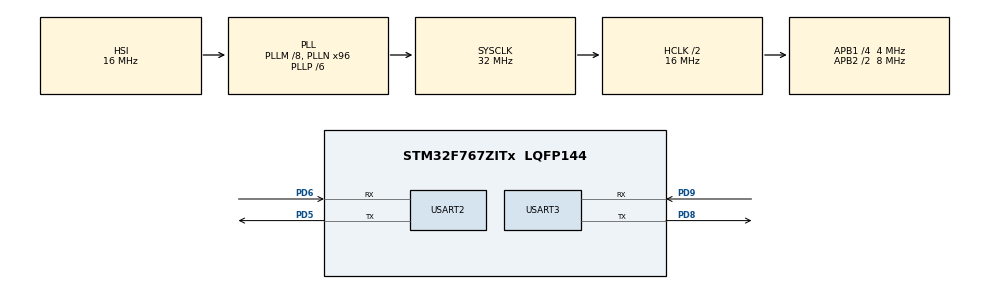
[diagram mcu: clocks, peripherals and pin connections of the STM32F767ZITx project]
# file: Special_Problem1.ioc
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Mcu.Family=STM32F7
Mcu.Name=STM32F767ZITx
Mcu.Package=LQFP144
NVIC.PriorityGroup=NVIC_PRIORITYGROUP_1
NVIC.USART2_IRQn=true\:1\:0\:true\:false\:true\:true\:true\:true
PD5.Mode=Asynchronous
PD5.Signal=USART2_TX
PD6.Mode=Asynchronous
PD6.Signal=USART2_RX
PD8.Mode=Asynchronous
PD8.Signal=USART3_TX
PD9.Mode=Asynchronous
PD9.Signal=USART3_RX
ProjectManager.HeapSize=0x200
ProjectManager.StackSize=0x400
ProjectManager.TargetToolchain=STM32CubeIDE
RCC.AHBCLKDivider=RCC_SYSCLK_DIV2
RCC.AHBFreq_Value=16000000
RCC.APB1CLKDivider=RCC_HCLK_DIV4
RCC.APB1Freq_Value=4000000
RCC.APB1TimFreq_Value=8000000
RCC.APB2CLKDivider=RCC_HCLK_DIV2
RCC.APB2Freq_Value=8000000
RCC.APB2TimFreq_Value=16000000
RCC.CortexFreq_Value=16000000
RCC.HCLKFreq_Value=16000000
RCC.HSE_VALUE=25000000
RCC.HSI_VALUE=16000000
RCC.LSE_VALUE=32768
RCC.PLLM=8
RCC.PLLN=96
RCC.PLLP=RCC_PLLP_DIV6
RCC.SYSCLKFreq_VALUE=32000000
RCC.SYSCLKSource=RCC_SYSCLKSOURCE_PLLCLK
RCC.USBFreq_Value=96000000
RCC.VCOOutputFreq_Value=192000000
USART2.VirtualMode-Asynchronous=VM_ASYNC
USART3.VirtualMode-Asynchronous=VM_ASYNC
board=custom

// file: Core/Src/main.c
/* USER CODE BEGIN Header */
/**
  ******************************************************************************
  * @file           : main.c
  * @brief          : Main program body
  ******************************************************************************
  * @attention
  *
  * Copyright (c) 2023 STMicroelectronics.
  * All rights reserved.
  *
  * This software is licensed under terms that can be found in the LICENSE file
  * in the root directory of this software component.
  * If no LICENSE file comes with this software, it is provided AS-IS.
  *
  ******************************************************************************
  */
/* USER CODE END Header */
#include "main.h"
#include "usart.h"
#include "gpio.h"

/* USER CODE BEGIN Includes */
#include "string.h"
/* USER CODE END Includes */

/* USER CODE BEGIN PV */
char rx_buffer[256];
char tx_buffer[256];
char me[16];
char you[16];
int i = 0;
int header = 0;
int name = 0;
int ready = 0;
int myname = 0;
char c;

uint8_t status = 0; //init
uint8_t exit = 0;
/* USER CODE END PV */

void SystemClock_Config(void);

int main(void)
{

  /* MCU Configuration--------------------------------------------------------*/

  /* Reset of all peripherals, Initializes the Flash interface and the Systick. */
  HAL_Init();

  /* Configure the system clock */
  SystemClock_Config();

  /* Initialize all configured peripherals */
  MX_GPIO_Init();
  MX_USART2_UART_Init();
  MX_USART3_UART_Init();
  /* USER CODE BEGIN 2 */
  HAL_UART_Receive_IT(&huart2, (uint8_t*) &c, 1);
  /* USER CODE END 2 */

  /* Infinite loop */
  /* USER CODE BEGIN WHILE */write_uart2(me);
  uart3_println("");
  while (1)
  {
    /* USER CODE END WHILE */

    /* USER CODE BEGIN 3 */

	  while (exit == 0){

		  //while (__HAL_UART_GET_FLAG(&huart2, UART_FLAG_RXNE) == RESET){}
		  if (header == 0)
		  {
//			  while (__HAL_UART_GET_FLAG(&huart3, UART_FLAG_TC) == RESET){}
//			  HAL_UART_Transmit(&huart3, (uint8_t*) &header, strlen(header), 100);
			  uart3_println("Man from U.A.R.T.2!");
			  uart3_println("Quit PRESS q");

//			  while (__HAL_UART_GET_FLAG(&huart2, UART_FLAG_RXNE) == RESET){}
//			  while (HAL_UART_Receive(&huart2, (uint8_t*) &c, 1, 1000) == HAL_OK){}
//
//			  while (__HAL_UART_GET_FLAG(&huart2, UART_FLAG_RXNE) == RESET){}
//			  while (HAL_UART_Receive(&huart2, (uint8_t*) &c, 1, 1000) == HAL_OK)
//			  {
//				  name1[i] = c;
//				  i++;
//			  }
//			  name1[i] = '\0';
//			  while (__HAL_UART_GET_FLAG(&huart3, UART_FLAG_TC) == RESET){}
//			  HAL_UART_Transmit(&huart3, (uint8_t*) "\t", 1, 100);
//			  HAL_UART_Transmit(&huart3, (uint8_t*) &name1, strlen(name1), 100);
//			  HAL_UART_Transmit(&huart3, (uint8_t*) &ready, strlen(ready), 100);
//			  i = 0;
//			  while (__HAL_UART_GET_FLAG(&huart3, UART_FLAG_TC) == RESET){}
//			  HAL_UART_Transmit(&huart3, (uint8_t*) "\tName : ", 8, 100);
//			  while (__HAL_UART_GET_FLAG(&huart3, UART_FLAG_RXNE) == RESET){}
//			  while(HAL_UART_Receive(&huart3, (uint8_t*) &c, 1, 1000) == HAL_OK)
//			  {
//					  HAL_UART_Transmit(&huart3, (uint8_t*) &c, 1, 100);
//					  name2[i] = c;
//					  i++;
//			  }
//			  name2[i] = '\0';
//			  HAL_UART_Transmit(&huart2, (uint8_t*) &name2, strlen(name2), 100);
//			  HAL_UART_Transmit(&huart3, (uint8_t*) "\n\r", 2, 100);
			  //status = 1;
			  header = 1;
		  }
		  //print_receive(you, rx_buffer);
//		  i = 0;
		  if (rx_buffer[i - 1] == 127 && name == 0)
		  {
			  name = 1;
			  rx_buffer[i - 1] = '\0';
			  int k = 0;
			  while (rx_buffer[k])
			  {
				  you[k] = rx_buffer[k];
				  k++;
			  }
			  you[k] = '\0';
			  uart3_printtab(you);
			  uart3_println(" is ready!");
			  i = 0;
		  }

		  if (name == 1 && myname == 0)
		  {
			  uart3_printtab("Name : ");
			  read_uart3(me);
			  write_uart2(me);
			  uart3_println("");
			  myname = 1;
		  }

		  if (rx_buffer[i - 1] == 127 && ready == 0 && name == 1){
			  ready = 1;
			  rx_buffer[i - 1] = '\0';
			  print_receive(you, rx_buffer);
			  //clear_buffer(rx_buffer);
			  i = 0;
			  if (rx_buffer[i] == 'q' && strlen(rx_buffer) == 1)
			  {
				  ready = 0;
				  exit = 1;
				  if (exit == 1)
				  {
					  uart3_printtab("Exit.");
					  break;
				  }
			  }
		  }

		  if (ready == 1 && name == 1){
			  put_transmit(me, tx_buffer);
			  write_uart2(tx_buffer);
			  int j = 0;
			  while (tx_buffer[j] != 127)
				  j++;
			  tx_buffer[j] = '\0';
			  if (tx_buffer[i] == 'q' && strlen(tx_buffer) == 1)
			  {
			  		exit = 1;
			  		if (exit == 1)
			  		{
			  			uart3_printtab("Exit.");
			  			break;
			  		}
			  }
			  //clear_buffer(tx_buffer);
			  ready = 0;
		  }

//		  if (name == 1)
//		  {
//			  uart3_printtab("")
//			  uart3_print(you);
//
//		  }
//
//		  while (__HAL_UART_GET_FLAG(&huart2, UART_FLAG_RXNE) == RESET){}
//		  while (HAL_UART_Receive(&huart2, (uint8_t*) &c, 1, 1000) == HAL_OK)
//		  {
//			  message[i] = c;
//			  i++;
//		  }
//		  message[i] = '\0';
//		  i = 0;
//
//		  HAL_UART_Transmit(&huart3, (uint8_t*) "\t", 1, 100);
//		  HAL_UART_Transmit(&huart3, (uint8_t*) &name1, strlen(name1), 100);
//		  HAL_UART_Transmit(&huart3, (uint8_t*) " : ", 3, 100);
//		  HAL_UART_Transmit(&huart3, (uint8_t*) &message, strlen(message), 100);
//		  HAL_UART_Transmit(&huart3, (uint8_t*) "\n\r", 2, 100);
//		  if (strlen(message) == 1 && message[0] == 'q')
//		  {rlen(mes
//			  exit = 1;
//			  break;
//		  }
//
//
//		  //while (__HAL_UART_GET_FLAG(&huart3, UART_FLAG_RXNE) == RESET){}
//		  //while (HAL_UART_Receive(&huart3, (uint8_t*) &c, 1, 1000) == HAL_OK ){}
//		  HAL_UART_Transmit(&huart3, (uint8_t*) "\t", 1, 100);
//		  HAL_UART_Transmit(&huart3, (uint8_t*) &name2, strlen(name2), 100);
//		  HAL_UART_Transmit(&huart3, (uint8_t*) " => ", 4, 100);
//		  while (__HAL_UART_GET_FLAG(&huart3, UART_FLAG_RXNE) == RESET){}
//		  while(HAL_UART_Receive(&huart3, (uint8_t*) &c, 1, 1000) == HAL_OK)
//			  {
//					  HAL_UART_Transmit(&huart3, (uint8_t*) &c, 1, 100);
//					  message[i] = c;
//					  i++;
//			  }
//		  message[i] = '\0';
//		  HAL_UART_Transmit(&huart2, (uint8_t*) &message, strlen(message), 100);
//		  HAL_UART_Transmit(&huart3, (uint8_t*) "\n\r", 2, 100);
//		  if (strlen(message) == 1 && message[0] == 'q')
//		  {
//			  exit = 1;
//			  break;
//		  }
	  }
  }
  /* USER CODE END 3 */
}

void SystemClock_Config(void)
{
  RCC_OscInitTypeDef RCC_OscInitStruct = {0};
  RCC_ClkInitTypeDef RCC_ClkInitStruct = {0};

  /** Configure the main internal regulator output voltage
  */
  __HAL_RCC_PWR_CLK_ENABLE();
  __HAL_PWR_VOLTAGESCALING_CONFIG(PWR_REGULATOR_VOLTAGE_SCALE3);

  /** Initializes the RCC Oscillators according to the specified parameters
  * in the RCC_OscInitTypeDef structure.
  */
  RCC_OscInitStruct.OscillatorType = RCC_OSCILLATORTYPE_HSI;
  RCC_OscInitStruct.HSIState = RCC_HSI_ON;
  RCC_OscInitStruct.HSICalibrationValue = RCC_HSICALIBRATION_DEFAULT;
  RCC_OscInitStruct.PLL.PLLState = RCC_PLL_ON;
  RCC_OscInitStruct.PLL.PLLSource = RCC_PLLSOURCE_HSI;
  RCC_OscInitStruct.PLL.PLLM = 8;
  RCC_OscInitStruct.PLL.PLLN = 96;
  RCC_OscInitStruct.PLL.PLLP = RCC_PLLP_DIV6;
  RCC_OscInitStruct.PLL.PLLQ = 2;
  RCC_OscInitStruct.PLL.PLLR = 2;
  if (HAL_RCC_OscConfig(&RCC_OscInitStruct) != HAL_OK)
  {
    Error_Handler();
  }

  /** Initializes the CPU, AHB and APB buses clocks
  */
  RCC_ClkInitStruct.ClockType = RCC_CLOCKTYPE_HCLK|RCC_CLOCKTYPE_SYSCLK
                              |RCC_CLOCKTYPE_PCLK1|RCC_CLOCKTYPE_PCLK2;
  RCC_ClkInitStruct.SYSCLKSource = RCC_SYSCLKSOURCE_PLLCLK;
  RCC_ClkInitStruct.AHBCLKDivider = RCC_SYSCLK_DIV2;
  RCC_ClkInitStruct.APB1CLKDivider = RCC_HCLK_DIV4;
  RCC_ClkInitStruct.APB2CLKDivider = RCC_HCLK_DIV2;

  if (HAL_RCC_ClockConfig(&RCC_ClkInitStruct, FLASH_LATENCY_0) != HAL_OK)
  {
    Error_Handler();
  }
}

/* USER CODE BEGIN 4 */
void uart3_print(const char* message)
{
	while (__HAL_UART_GET_FLAG(&huart3, UART_FLAG_TC) == RESET){}
	HAL_UART_Transmit(&huart3, message, strlen(message), 100);
}

void uart3_println(const char* message)
{
	while (__HAL_UART_GET_FLAG(&huart3, UART_FLAG_TC) == RESET){}
	HAL_UART_Transmit(&huart3, message, strlen(message), 100);
	HAL_UART_Transmit(&huart3, "\n\r", 2, 100);
}

void uart3_printtab(const char* message)
{
	while (__HAL_UART_GET_FLAG(&huart3, UART_FLAG_TC) == RESET){}
	HAL_UART_Transmit(&huart3, "\t", 1, 100);
	HAL_UART_Transmit(&huart3, message, strlen(message), 100);
}

void read_uart2(char buffer[1024]){
	char c;
	int i = 0;
	//while (HAL_UART_Receive(&huart2, (uint8_t*) &c, 1, 1000) == HAL_OK){}
	while (__HAL_UART_GET_FLAG(&huart2, UART_FLAG_RXNE) == RESET){}
	while (HAL_UART_Receive(&huart2, (uint8_t*) &c, 1, 1000) == HAL_OK)
	{
		buffer[i] = c;
		i++;
	}
	buffer[i] = '\0';
}

void read_uart3(char buffer[1024]){
	char c;
	int i = 0;
	//while (HAL_UART_Receive(&huart3, (uint8_t*) &c, 1, 1000) == HAL_OK){}
	while (__HAL_UART_GET_FLAG(&huart3, UART_FLAG_RXNE) == RESET){}
	while (HAL_UART_Receive(&huart3, (uint8_t*) &c, 1, 1000) == HAL_OK)
	{
		HAL_UART_Transmit(&huart3, (uint8_t*) &c, 1, 1000);
		buffer[i] = c;
		i++;
	}
	buffer[i] = 127;

}

void write_uart2(const char* message){
	while (__HAL_UART_GET_FLAG(&huart2, UART_FLAG_TC) == RESET){}
	HAL_UART_Transmit(&huart2, message, strlen(message), 100);
}

void put_transmit(const char* transmitter, char buffer[1024]){
	uart3_printtab(transmitter);
	uart3_print(" => ");
	read_uart3(buffer);
	uart3_println("");
}

void print_receive(const char* receiver, char buffer[1024]){
	uart3_printtab(receiver);
	uart3_print(" : ");
	uart3_println(buffer);
}
void HAL_UART_RxCpltCallback(UART_HandleTypeDef *huart){
	if (huart->Instance == huart2.Instance){
		rx_buffer[i] = c;
		i++;
		HAL_UART_Receive_IT(&huart2, (uint8_t*) &c, 1);

	}
}

void clear_buffer(char buffer[1024]){
	for (int i = 0; i < 256; i++)
	{
		buffer[i] = '\0';
	}
}
/* USER CODE END 4 */

void Error_Handler(void)
{
  __disable_irq();
  while (1)
  {
  }
}
